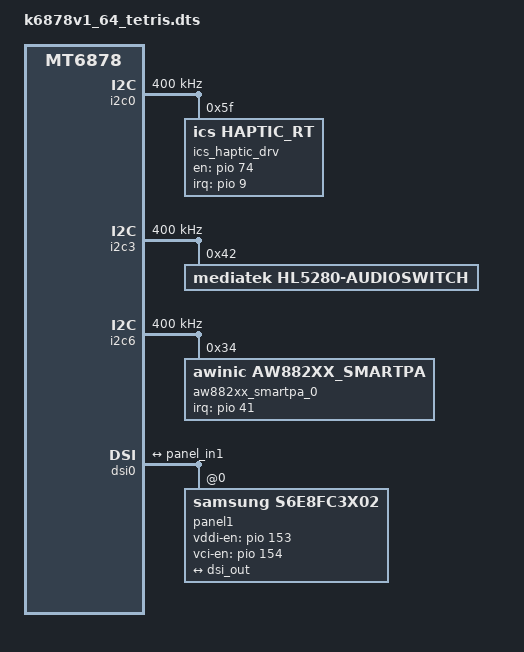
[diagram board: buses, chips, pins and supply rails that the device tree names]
// SPDX-License-Identifier: (GPL-2.0 OR MIT)
/*
 * Copyright (C) 2022 MediaTek Inc.
 */
 
#include "k6878v1_64.dts"

/ {
    hw_rev = <0>;
};

/* Trustonic Mobilecore real driver */
&mobicore{
	trustonic,real-drv=<1>;
};

&mtk_leds {
	compatible = "mediatek,disp-leds";

	backlight {
		led-mode = <4>;
		/delete-property/ gate-enable;
		/delete-property/ pwm-config;
	};
};


&i2c0 {
	clock-frequency = <400000>;
	status = "ok";

	ics_haptic_drv: ics_haptic@5f {
		compatible = "ics,haptic_rt";
		reg = <0x5f>;
		device-name = "vibrator_nt";
		richtap-name = "aac_richtap";
		pinctrl-names = "default";
		gpio-en = <&pio 74 0>;
		gpio-irq = <&pio 9 0>;
		x-axis-motor = <0>;
		status = "ok";
	};
};

&i2c3 {
	clock-frequency = <400000>;
	hl5280-audioswitch@42 {
		compatible = "mediatek,hl5280-audioswitch";
		reg = <0x42>;
	};
};

&gpio_board_id {
	compatible = "gpio,board-id,tetris";
	board_id_gpio0 = <&pio 2 0x0>;
	board_id_gpio1 = <&pio 3 0x0>;
	board_id_gpio2 = <&pio 70 0x0>;
	board_id_gpio3 = <&pio 68 0x0>;
};

&i2c6 {
	clock-frequency = <400000>;
	aw882xx_smartpa_0: aw882xx_smartpa@34 {
		compatible = "awinic,aw882xx_smartpa";
		#sound-dai-cells = <0>;
		reg = <0x34>;
		//reset-gpio = <&pio 151 0>; /*aw88230,aw88257,aw88261,aw88265 不能配置*/
		irq-gpio = <&pio 41 0x0>;
		sync-load = <1>;
		aw-re-min = <5000>;
		aw-re-max = <7000>;
		/*aw-cali-mode = "none";*/
		status = "okay";
	};
};

&sound {
	mediatek,speaker-codec {
		sound-dai = <&aw882xx_smartpa_0>;
	};
};

&dsi0 {
    err-flag-gpios = <&pio 10 0>;

	panel1@0 {
		compatible = "samsung,s6e8fc3x02";
		vddi-en-gpios = <&pio 153 0>;
		vci-en-gpios = <&pio 154 0>;
		is-support-write-key = <1>;
		esd-readreg-per-cycle = <1>;
		esd-check-num = <4>;
		port {
			panel_in1: endpoint {
				remote-endpoint = <&dsi_out>;
			};
		};
	};

	ports {
		port {
			dsi_out: endpoint {
				remote-endpoint = <&panel_in1>;
			};
		};
	};
};

	&mtee_svp {
		mtee: MTEE {
			compatible = "mediatek,mtk_svp_on_mtee_support";
		};

		svp: SecureVideoPath {
			compatible = "mediatek,mtk_sec_video_path_support";
		};
	};

&thermal_zones {
	usb_port_ntc: usb_port_ntc {
		polling-delay = <0>; /* milliseconds */
		polling-delay-passive = <0>; /* milliseconds */
		thermal-sensors = <&usb_port_thermistor>;

		trips {
			usb_port_crit: usb-port-crit {
				temperature = <119000>;
				hysteresis = <2000>;
				type = "passive";
			};
		};
	};
};

&mt6375_typec {
	tcpc,en-fod;
};

&mt6375_typec_pd_data {
	pd,sink-cap-ext = /bits/ 8 <0xcf 0x29 0x75 0x63
				    0x00 0x00 0x00 0x00
				    0x00 0x00 0x01 0x00
				    0x00 0x00 0x00 0x00
				    0x01 0x0b 0x0a 0x0a
				    0x21 0x00 0x00 0x00>;
	pd,charging-policy = <0x2>;
	pd,sink-pdo-size = <3>;
	/* Fixed, 5000mV,2000mA 9000mV,2000mA , 9VProg,3000mA*/
	pd,sink-pdo-data = <0x000190c8 0x0002d0c8 0xc0dc323c>;
};

#include <k6878v1_64/cust.dtsi>
#include "mediatek/cust_mt6878_touch_ft3519_1080x2400.dtsi"
#include "mediatek/cust_mt6878_camera_v4l2.dtsi"
#include "mediatek/cust_k6878_connfem.dtsi"
#include "mediatek/sc8541.dtsi"
#include "mediatek/upm6720.dtsi"
#include "goodix_fingerprint.dtsi"
/*End of this file, DO NOT ADD ANYTHING HERE*/
